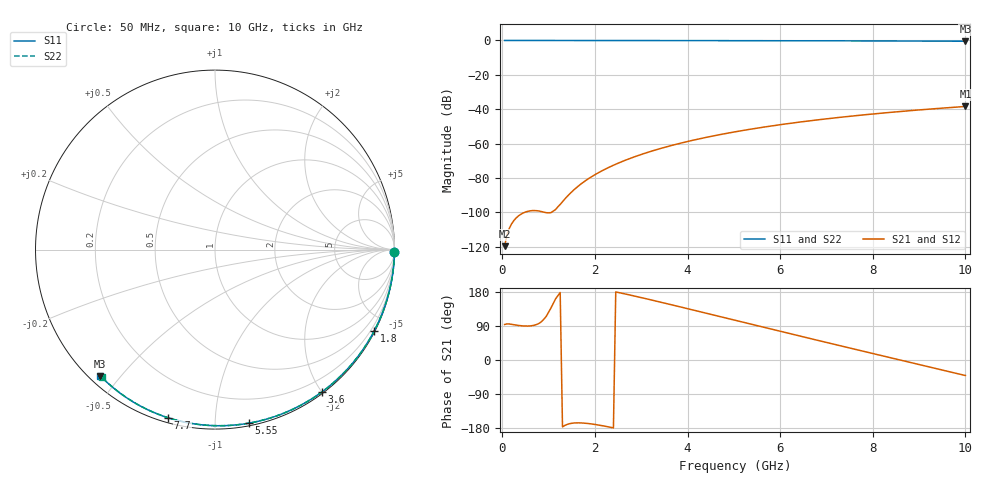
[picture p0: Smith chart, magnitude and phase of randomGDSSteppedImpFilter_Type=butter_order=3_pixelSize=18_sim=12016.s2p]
! freq	dB(S11)	phase(S11)	dB(S12)	phase(S12)
!  dB(S21)	phase(S21)	dB(S22)	phase(S22)
!S-par simulation data
#  GHz  S  DB  R 50
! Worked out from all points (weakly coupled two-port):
!   200 points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, 50 MHz to 10 GHz, reference 50 ohm
!   highest |S21| = -38.41 dB at 10 GHz (marker M1); lowest = -119.7 dB at 50 MHz (marker M2)
!   lowest |S11| = -0.4 dB at 10 GHz (marker M3), VSWR 39.37, Z = 1.52 - j22.1 ohm
!   |S11| at or under -10 dB: nowhere
!   |S22| runs from -0.4 to 0.0 dB; largest |S21 - S12| = 0
!   S11 on the Smith chart (normalised r, x): 50 MHz: open; 1.8 GHz: 0.04, -4.15; 3.6 GHz: 0.02, -2.01; 5.55 GHz: 0.02, -1.21; 7.7 GHz: 0.02, -0.76; 10 GHz: 0.03, -0.44
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0.05  -0.00 -0.8  -119.68 93.7  -119.68 93.7  -0.00 -0.8
0.45  -0.01 -6.9  -100.39 89.9  -100.39 89.9  -0.01 -6.8
0.9  -0.02 -13.7  -99.94 107.9  -99.94 107.9  -0.02 -13.6
1.75  -0.03 -26.3  -82.48 -166.4  -82.48 -166.4  -0.03 -26.2
1.8  -0.03 -27.1  -81.53 -166.9  -81.53 -166.9  -0.03 -26.9
1.9  -0.04 -28.5  -79.75 -168.3  -79.75 -168.3  -0.04 -28.4
2.05  -0.04 -30.8  -77.33 -171.0  -77.33 -171.0  -0.04 -30.6
2.25  -0.04 -33.7  -74.50 -175.4  -74.50 -175.4  -0.04 -33.5
2.45  -0.05 -36.6  -71.99 179.6  -71.99 179.6  -0.05 -36.4
2.65  -0.05 -39.5  -69.76 174.4  -69.76 174.4  -0.05 -39.3
3  -0.06 -44.5  -66.33 164.7  -66.33 164.7  -0.06 -44.3
3.4  -0.07 -50.1  -62.98 153.2  -62.98 153.2  -0.07 -49.9
3.6  -0.07 -52.9  -61.49 147.3  -61.49 147.3  -0.07 -52.7
4.3  -0.09 -62.6  -56.97 126.6  -56.97 126.6  -0.09 -62.3
5.05  -0.11 -72.6  -53.04 104.2  -53.04 104.2  -0.11 -72.2
5.55  -0.13 -79.1  -50.81 89.3  -50.81 89.3  -0.13 -78.7
6.1  -0.15 -86.1  -48.64 72.9  -48.64 72.9  -0.15 -85.6
6.7  -0.18 -93.5  -46.55 55.1  -46.55 55.1  -0.18 -93.1
7.7  -0.24 -105.6  -43.57 25.8  -43.57 25.8  -0.24 -105.1
8.35  -0.29 -113.3  -41.91 6.9  -41.91 6.9  -0.29 -112.7
9.15  -0.36 -122.5  -40.09 -16.2  -40.09 -16.2  -0.36 -121.8
10  -0.44 -132.3  -38.41 -41.0  -38.41 -41.0  -0.44 -131.4
